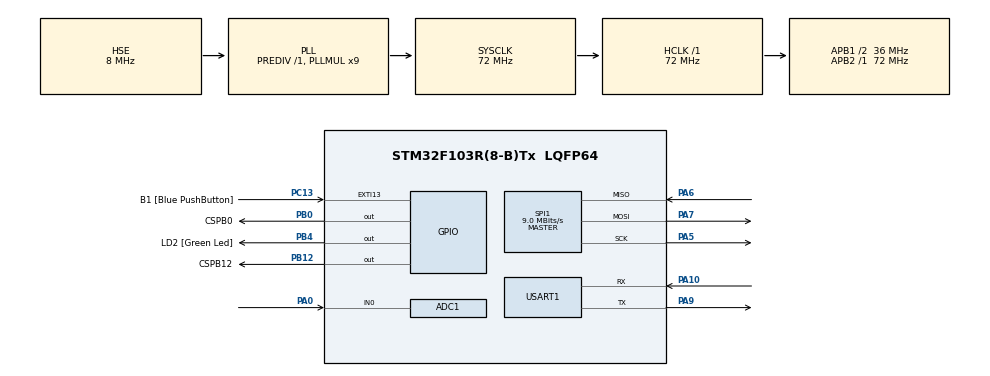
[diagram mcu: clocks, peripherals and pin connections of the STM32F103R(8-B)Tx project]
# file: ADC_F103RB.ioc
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ADC1.Channel-3\#ChannelRegularConversion=ADC_CHANNEL_0
ADC1.ContinuousConvMode=ENABLE
ADC1.NbrOfConversionFlag=1
ADC1.Rank-3\#ChannelRegularConversion=1
ADC1.SamplingTime-3\#ChannelRegularConversion=ADC_SAMPLETIME_1CYCLE_5
ADC1.master=1
Dma.ADC1.0.Direction=DMA_PERIPH_TO_MEMORY
Dma.ADC1.0.Instance=DMA1_Channel1
Dma.ADC1.0.MemDataAlignment=DMA_MDATAALIGN_HALFWORD
Dma.ADC1.0.MemInc=DMA_MINC_ENABLE
Dma.ADC1.0.Mode=DMA_CIRCULAR
Dma.ADC1.0.PeriphDataAlignment=DMA_PDATAALIGN_HALFWORD
Dma.ADC1.0.PeriphInc=DMA_PINC_DISABLE
Dma.ADC1.0.Priority=DMA_PRIORITY_VERY_HIGH
Dma.Request0=ADC1
FATFS._MAX_SS=4096
FATFS._USE_LFN=1
Mcu.Family=STM32F1
Mcu.Name=STM32F103R(8-B)Tx
Mcu.Package=LQFP64
NVIC.DMA1_Channel1_IRQn=true\:0\:0\:false\:false\:true\:false\:true
NVIC.EXTI15_10_IRQn=true\:0\:0\:false\:false\:true\:true\:true
NVIC.PriorityGroup=NVIC_PRIORITYGROUP_4
NVIC.TIM3_IRQn=true\:0\:0\:false\:false\:true\:true\:true
PA0-WKUP.Signal=ADCx_IN0
PA10.Mode=Asynchronous
PA10.Signal=USART1_RX
PA13.GPIO_Label=TMS
PA13.Mode=Serial_Wire
PA13.Signal=SYS_JTMS-SWDIO
PA14.GPIO_Label=TCK
PA14.Mode=Serial_Wire
PA14.Signal=SYS_JTCK-SWCLK
PA2.GPIO_Label=USART_TX
PA2.GPIO_Mode=GPIO_MODE_AF_PP
PA2.GPIO_PuPd=GPIO_NOPULL
PA2.GPIO_Speed=GPIO_SPEED_FREQ_LOW
PA2.Signal=USART2_TX
PA3.GPIO_Label=USART_RX
PA3.GPIO_Mode=GPIO_MODE_AF_PP
PA3.GPIO_PuPd=GPIO_NOPULL
PA3.GPIO_Speed=GPIO_SPEED_FREQ_LOW
PA3.Signal=USART2_RX
PA5.Mode=Full_Duplex_Master
PA5.Signal=SPI1_SCK
PA6.Mode=Full_Duplex_Master
PA6.Signal=SPI1_MISO
PA7.Mode=Full_Duplex_Master
PA7.Signal=SPI1_MOSI
PA9.Mode=Asynchronous
PA9.Signal=USART1_TX
PB0.GPIO_Label=CSPB0
PB0.Signal=GPIO_Output
PB12.GPIO_Label=CSPB12
PB12.Signal=GPIO_Output
PB3.GPIO_Label=SWO
PB3.Signal=SYS_JTDO-TRACESWO
PB4.GPIO_Label=LD2 [Green Led]
PB4.Signal=GPIO_Output
PC13-TAMPER-RTC.GPIO_Label=B1 [Blue PushButton]
PC13-TAMPER-RTC.GPIO_PuPd=GPIO_NOPULL
PC13-TAMPER-RTC.Signal=GPXTI13
PC14-OSC32_IN.Signal=RCC_OSC32_IN
PC15-OSC32_OUT.Signal=RCC_OSC32_OUT
PD0-OSC_IN.Mode=HSE-External-Oscillator
PD0-OSC_IN.Signal=RCC_OSC_IN
PD1-OSC_OUT.Mode=HSE-External-Oscillator
PD1-OSC_OUT.Signal=RCC_OSC_OUT
ProjectManager.HeapSize=0x200
ProjectManager.StackSize=0x400
ProjectManager.TargetToolchain=STM32CubeIDE
RCC.ADCPresc=RCC_ADCPCLK2_DIV6
RCC.AHBFreq_Value=72000000
RCC.APB1CLKDivider=RCC_HCLK_DIV2
RCC.APB1Freq_Value=36000000
RCC.APB1TimFreq_Value=72000000
RCC.APB2Freq_Value=72000000
RCC.APB2TimFreq_Value=72000000
RCC.HCLKFreq_Value=72000000
RCC.PLLMUL=RCC_PLL_MUL9
RCC.PLLSourceVirtual=RCC_PLLSOURCE_HSE
RCC.RTCClockSelection=RCC_RTCCLKSOURCE_LSE
RCC.SYSCLKFreq_VALUE=72000000
RCC.SYSCLKSource=RCC_SYSCLKSOURCE_PLLCLK
RCC.USBFreq_Value=72000000
SH.ADCx_IN0.0=ADC1_IN0,IN0
SPI1.BaudRatePrescaler=SPI_BAUDRATEPRESCALER_8
SPI1.CalculateBaudRate=9.0 MBits/s
SPI1.Direction=SPI_DIRECTION_2LINES
SPI1.Mode=SPI_MODE_MASTER
SPI1.VirtualType=VM_MASTER
TIM3.AutoReloadPreload=TIM_AUTORELOAD_PRELOAD_DISABLE
TIM3.Period=10000
TIM3.Prescaler=36000-1
USART1.VirtualMode=VM_ASYNC
VP_FATFS_VS_Generic.Mode=User_defined
VP_TIM3_VS_ClockSourceINT.Mode=Internal
board=NUCLEO-F103RB

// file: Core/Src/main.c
/* USER CODE BEGIN Header */
/**
 ******************************************************************************
 * @file           : main.c
 * @brief          : Main program body
 ******************************************************************************
 * @attention
 *
 * <h2><center>&copy; Copyright (c) 2020 STMicroelectronics.
 * All rights reserved.</center></h2>
 *
 * This software component is licensed by ST under BSD 3-Clause license,
 * the "License"; You may not use this file except in compliance with the
 * License. You may obtain a copy of the License at:
 *                        opensource.org/licenses/BSD-3-Clause
 *
 ******************************************************************************
 */
/* USER CODE END Header */
#include "main.h"
#include "fatfs.h"

/* USER CODE BEGIN Includes */
#include "stm32f1xx_hal.h"

#include "fatfs_sd.h"

#include "string.h"

#include "stdio.h"

#include "stdbool.h"

/* USER CODE END Includes */

/* USER CODE BEGIN PD */
#define ADC_BUF_LEN 256
/* USER CODE END PD */

ADC_HandleTypeDef hadc1;
DMA_HandleTypeDef hdma_adc1;

SPI_HandleTypeDef hspi1;

TIM_HandleTypeDef htim3;

UART_HandleTypeDef huart1;

/* USER CODE BEGIN PV */
uint16_t adc_buf[ADC_BUF_LEN];

FATFS fs;
FATFS * pfs;
FIL fil;
FRESULT fres;
DWORD fre_clust;
uint32_t totalSpace, freeSpace;

volatile bool flag = false;

/* USER CODE END PV */

void SystemClock_Config(void);
static void MX_GPIO_Init(void);
static void MX_DMA_Init(void);
static void MX_ADC1_Init(void);
static void MX_USART1_UART_Init(void);
static void MX_TIM3_Init(void);
static void MX_SPI1_Init(void);

/* USER CODE BEGIN 0 */
// HAL_GPIO_WritePin(LD2_GPIO_Port,LD2_Pin, GPIO_PIN_RESET);
// HAL_GPIO_WritePin(LD2_GPIO_Port,LD2_Pin, GPIO_PIN_SET);
void HAL_ADC_ConvHalfCpltCallback(ADC_HandleTypeDef * hadc) {

}
uint16_t line = 0;
//FRESULT
void HAL_ADC_ConvCpltCallback(ADC_HandleTypeDef * hadc) {
  if (flag == true) {
	  uint16_t counter;
	UINT byteswritten;
    for (counter = 0; counter < ADC_BUF_LEN; counter++)
    	f_printf( & fil, "%d|%d\n", adc_buf[counter], line++);
//    	f_write(&fil,adc_buf,sizeof(adc_buf),&byteswritten);
  }
}
//Every 5s
int dataCounter = 0;
/*
void TIM3_IRQHandler(void)// TODO OR
*/
void HAL_TIM_PeriodElapsedCallback(TIM_HandleTypeDef * htim) {
  if (htim -> Instance == TIM3) //check if the interrupt comes from TIM1
  {
    HAL_GPIO_TogglePin(LD2_GPIO_Port, LD2_Pin);
    flag = false;
  }
}

//US Delay dont forget to change prescalller. noww - 72Mhz / 36000-1 = (2000hz,2ms) => 0.5 * 10000ms = 5s
void delay_us(uint16_t us) {
  __HAL_TIM_SET_COUNTER( & htim3, 0); // set the counter value a 0
  while (__HAL_TIM_GET_COUNTER( & htim3) < us); // wait for the counter to reach the us input in the parameter
}
/* USER CODE END 0 */

int main(void)
{

  /* MCU Configuration--------------------------------------------------------*/

  /* Reset of all peripherals, Initializes the Flash interface and the Systick. */
  HAL_Init();

  /* Configure the system clock */
  SystemClock_Config();

  /* Initialize all configured peripherals */
  MX_GPIO_Init();
  MX_DMA_Init();
  MX_ADC1_Init();
  MX_FATFS_Init();
  MX_USART1_UART_Init();
  MX_TIM3_Init();
  MX_SPI1_Init();
  /* USER CODE BEGIN 2 */
    /* Wait for SD module reset */
    HAL_Delay(500);
    /* Mount SD Card */
    if (f_mount( & fs, "", 0) != FR_OK)
      _Error_Handler(__FILE__, __LINE__);
    // Open file to write
    char fileName[80];
    sprintf(fileName, "%s_%d.txt", "DataLog", dataCounter++);
    	if (f_open( & fil, fileName, FA_OPEN_ALWAYS | FA_READ | FA_WRITE) != FR_OK)
    		_Error_Handler(__FILE__, __LINE__);
    //Run ADC Cont.
    HAL_ADC_Start_DMA( & hadc1, (uint32_t * ) adc_buf, ADC_BUF_LEN);

    //RUN TIM_3
    HAL_TIM_Base_Start_IT(&htim3);

  /* USER CODE END 2 */

  /* Infinite loop */
  /* USER CODE BEGIN WHILE */
    while (1) {
      if (flag == false) {
        //Save
        if (f_close( & fil) != FR_OK)
          _Error_Handler(__FILE__, __LINE__);
        //Unmount Save
        if (f_mount(NULL, "", 1) != FR_OK)
          _Error_Handler(__FILE__, __LINE__);
        //Mount new
        if (f_mount( & fs, "", 0) != FR_OK)
          _Error_Handler(__FILE__, __LINE__);
          line = 0;
          // Open file to write
          char fileName[80];
          sprintf(fileName, "%s_%d.txt", "DataLog", dataCounter++);
          if (f_open( & fil, fileName, FA_OPEN_ALWAYS | FA_READ | FA_WRITE) != FR_OK)
            _Error_Handler(__FILE__, __LINE__);
          flag = true;
          // Check free Space
         // if (f_getfree("", & fre_clust, & pfs) != FR_OK)
           // _Error_Handler(__FILE__, __LINE__);

        //  totalSpace = (uint32_t)((pfs -> n_fatent - 2) * pfs -> csize * 0.5);
        //  freeSpace = (uint32_t)(fre_clust * pfs -> csize * 0.5);

          // free space is less than 1kb
          //if (freeSpace < 1)
         //   _Error_Handler(__FILE__, __LINE__);
         // ready = 1; // RUN ADC
      }
    }

    /* USER CODE END WHILE */

}

void SystemClock_Config(void)
{
  RCC_OscInitTypeDef RCC_OscInitStruct = {0};
  RCC_ClkInitTypeDef RCC_ClkInitStruct = {0};
  RCC_PeriphCLKInitTypeDef PeriphClkInit = {0};

  /** Initializes the RCC Oscillators according to the specified parameters
  * in the RCC_OscInitTypeDef structure.
  */
  RCC_OscInitStruct.OscillatorType = RCC_OSCILLATORTYPE_HSE;
  RCC_OscInitStruct.HSEState = RCC_HSE_ON;
  RCC_OscInitStruct.HSEPredivValue = RCC_HSE_PREDIV_DIV1;
  RCC_OscInitStruct.HSIState = RCC_HSI_ON;
  RCC_OscInitStruct.PLL.PLLState = RCC_PLL_ON;
  RCC_OscInitStruct.PLL.PLLSource = RCC_PLLSOURCE_HSE;
  RCC_OscInitStruct.PLL.PLLMUL = RCC_PLL_MUL9;
  if (HAL_RCC_OscConfig(&RCC_OscInitStruct) != HAL_OK)
  {
    Error_Handler();
  }
  /** Initializes the CPU, AHB and APB buses clocks
  */
  RCC_ClkInitStruct.ClockType = RCC_CLOCKTYPE_HCLK|RCC_CLOCKTYPE_SYSCLK
                              |RCC_CLOCKTYPE_PCLK1|RCC_CLOCKTYPE_PCLK2;
  RCC_ClkInitStruct.SYSCLKSource = RCC_SYSCLKSOURCE_PLLCLK;
  RCC_ClkInitStruct.AHBCLKDivider = RCC_SYSCLK_DIV1;
  RCC_ClkInitStruct.APB1CLKDivider = RCC_HCLK_DIV2;
  RCC_ClkInitStruct.APB2CLKDivider = RCC_HCLK_DIV1;

  if (HAL_RCC_ClockConfig(&RCC_ClkInitStruct, FLASH_LATENCY_2) != HAL_OK)
  {
    Error_Handler();
  }
  PeriphClkInit.PeriphClockSelection = RCC_PERIPHCLK_ADC;
  PeriphClkInit.AdcClockSelection = RCC_ADCPCLK2_DIV6;
  if (HAL_RCCEx_PeriphCLKConfig(&PeriphClkInit) != HAL_OK)
  {
    Error_Handler();
  }
}

static void MX_ADC1_Init(void)
{

  ADC_ChannelConfTypeDef sConfig = {0};

  /** Common config
  */
  hadc1.Instance = ADC1;
  hadc1.Init.ScanConvMode = ADC_SCAN_DISABLE;
  hadc1.Init.ContinuousConvMode = ENABLE;
  hadc1.Init.DiscontinuousConvMode = DISABLE;
  hadc1.Init.ExternalTrigConv = ADC_SOFTWARE_START;
  hadc1.Init.DataAlign = ADC_DATAALIGN_RIGHT;
  hadc1.Init.NbrOfConversion = 1;
  if (HAL_ADC_Init(&hadc1) != HAL_OK)
  {
    Error_Handler();
  }
  /** Configure Regular Channel
  */
  sConfig.Channel = ADC_CHANNEL_0;
  sConfig.Rank = ADC_REGULAR_RANK_1;
  sConfig.SamplingTime = ADC_SAMPLETIME_1CYCLE_5;
  if (HAL_ADC_ConfigChannel(&hadc1, &sConfig) != HAL_OK)
  {
    Error_Handler();
  }

}

static void MX_SPI1_Init(void)
{

  /* SPI1 parameter configuration*/
  hspi1.Instance = SPI1;
  hspi1.Init.Mode = SPI_MODE_MASTER;
  hspi1.Init.Direction = SPI_DIRECTION_2LINES;
  hspi1.Init.DataSize = SPI_DATASIZE_8BIT;
  hspi1.Init.CLKPolarity = SPI_POLARITY_LOW;
  hspi1.Init.CLKPhase = SPI_PHASE_1EDGE;
  hspi1.Init.NSS = SPI_NSS_SOFT;
  hspi1.Init.BaudRatePrescaler = SPI_BAUDRATEPRESCALER_8;
  hspi1.Init.FirstBit = SPI_FIRSTBIT_MSB;
  hspi1.Init.TIMode = SPI_TIMODE_DISABLE;
  hspi1.Init.CRCCalculation = SPI_CRCCALCULATION_DISABLE;
  hspi1.Init.CRCPolynomial = 10;
  if (HAL_SPI_Init(&hspi1) != HAL_OK)
  {
    Error_Handler();
  }

}

static void MX_TIM3_Init(void)
{

  TIM_ClockConfigTypeDef sClockSourceConfig = {0};
  TIM_MasterConfigTypeDef sMasterConfig = {0};

  htim3.Instance = TIM3;
  htim3.Init.Prescaler = 36000-1;
  htim3.Init.CounterMode = TIM_COUNTERMODE_UP;
  htim3.Init.Period = 10000;
  htim3.Init.ClockDivision = TIM_CLOCKDIVISION_DIV1;
  htim3.Init.AutoReloadPreload = TIM_AUTORELOAD_PRELOAD_DISABLE;
  if (HAL_TIM_Base_Init(&htim3) != HAL_OK)
  {
    Error_Handler();
  }
  sClockSourceConfig.ClockSource = TIM_CLOCKSOURCE_INTERNAL;
  if (HAL_TIM_ConfigClockSource(&htim3, &sClockSourceConfig) != HAL_OK)
  {
    Error_Handler();
  }
  sMasterConfig.MasterOutputTrigger = TIM_TRGO_RESET;
  sMasterConfig.MasterSlaveMode = TIM_MASTERSLAVEMODE_DISABLE;
  if (HAL_TIMEx_MasterConfigSynchronization(&htim3, &sMasterConfig) != HAL_OK)
  {
    Error_Handler();
  }

}

static void MX_USART1_UART_Init(void)
{

  huart1.Instance = USART1;
  huart1.Init.BaudRate = 115200;
  huart1.Init.WordLength = UART_WORDLENGTH_8B;
  huart1.Init.StopBits = UART_STOPBITS_1;
  huart1.Init.Parity = UART_PARITY_NONE;
  huart1.Init.Mode = UART_MODE_TX_RX;
  huart1.Init.HwFlowCtl = UART_HWCONTROL_NONE;
  huart1.Init.OverSampling = UART_OVERSAMPLING_16;
  if (HAL_UART_Init(&huart1) != HAL_OK)
  {
    Error_Handler();
  }

}

static void MX_DMA_Init(void)
{

  /* DMA controller clock enable */
  __HAL_RCC_DMA1_CLK_ENABLE();

  /* DMA interrupt init */
  /* DMA1_Channel1_IRQn interrupt configuration */
  HAL_NVIC_SetPriority(DMA1_Channel1_IRQn, 0, 0);
  HAL_NVIC_EnableIRQ(DMA1_Channel1_IRQn);

}

static void MX_GPIO_Init(void)
{
  GPIO_InitTypeDef GPIO_InitStruct = {0};

  /* GPIO Ports Clock Enable */
  __HAL_RCC_GPIOC_CLK_ENABLE();
  __HAL_RCC_GPIOD_CLK_ENABLE();
  __HAL_RCC_GPIOA_CLK_ENABLE();
  __HAL_RCC_GPIOB_CLK_ENABLE();

  /*Configure GPIO pin Output Level */
  HAL_GPIO_WritePin(GPIOB, CSPB0_Pin|CSPB12_Pin|LD2_Pin, GPIO_PIN_RESET);

  /*Configure GPIO pin : B1_Pin */
  GPIO_InitStruct.Pin = B1_Pin;
  GPIO_InitStruct.Mode = GPIO_MODE_IT_RISING;
  GPIO_InitStruct.Pull = GPIO_NOPULL;
  HAL_GPIO_Init(B1_GPIO_Port, &GPIO_InitStruct);

  /*Configure GPIO pins : USART_TX_Pin USART_RX_Pin */
  GPIO_InitStruct.Pin = USART_TX_Pin|USART_RX_Pin;
  GPIO_InitStruct.Mode = GPIO_MODE_AF_PP;
  GPIO_InitStruct.Speed = GPIO_SPEED_FREQ_LOW;
  HAL_GPIO_Init(GPIOA, &GPIO_InitStruct);

  /*Configure GPIO pins : CSPB0_Pin CSPB12_Pin LD2_Pin */
  GPIO_InitStruct.Pin = CSPB0_Pin|CSPB12_Pin|LD2_Pin;
  GPIO_InitStruct.Mode = GPIO_MODE_OUTPUT_PP;
  GPIO_InitStruct.Pull = GPIO_NOPULL;
  GPIO_InitStruct.Speed = GPIO_SPEED_FREQ_LOW;
  HAL_GPIO_Init(GPIOB, &GPIO_InitStruct);

  /* EXTI interrupt init*/
  HAL_NVIC_SetPriority(EXTI15_10_IRQn, 0, 0);
  HAL_NVIC_EnableIRQ(EXTI15_10_IRQn);

}

/* USER CODE BEGIN 4 */
    void _Error_Handler(char * file, int line) {
      /* USER CODE BEGIN Error_Handler_Debug */
      /* User can add his own implementation to report the HAL error return state */
      printf("error at line %i", line);
      fflush(stdout);

      //while (1) {
        //TODO
    //  }

      /* USER CODE END Error_Handler_Debug */
    }

/* USER CODE END 4 */

void Error_Handler(void)
{
  /* USER CODE BEGIN Error_Handler_Debug */
      /* User can add his own implementation to report the HAL error return state */
      printf("error at line %i", line);
      fflush(stdout);

      //while (1) {
        //TODO
    //  }

  /* USER CODE END Error_Handler_Debug */
}

/************************ (C) COPYRIGHT STMicroelectronics *****END OF FILE****/
